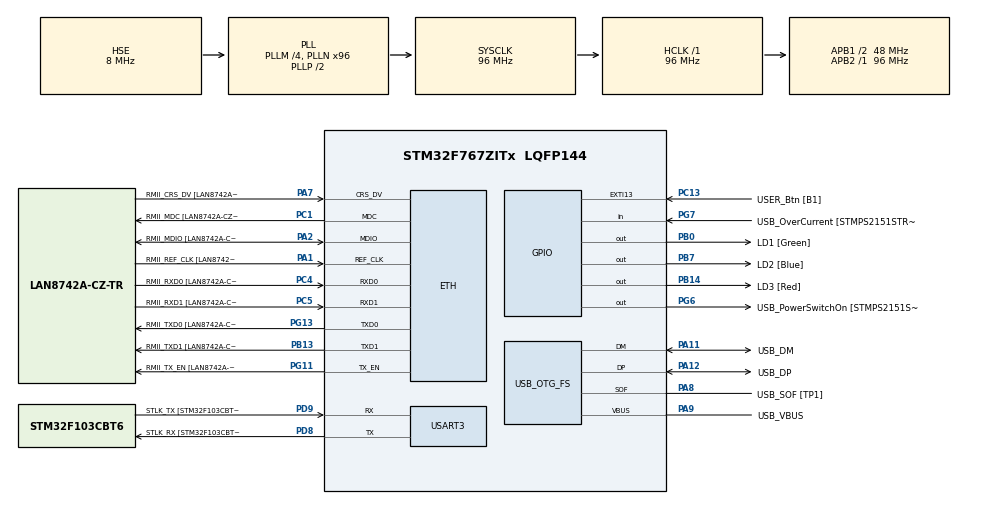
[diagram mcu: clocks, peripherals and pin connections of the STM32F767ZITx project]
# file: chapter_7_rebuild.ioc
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ETH.MediaInterface=HAL_ETH_RMII_MODE
ETH.PHY_Name=LAN8742A_PHY_ADDRESS
ETH.PHY_Value=0
ETH.PhyAddress=0
FREERTOS.Tasks01=defaultTask,24,128,StartDefaultTask,Default,NULL,Dynamic,NULL,NULL
Mcu.Family=STM32F7
Mcu.Name=STM32F767ZITx
Mcu.Package=LQFP144
NVIC.PriorityGroup=NVIC_PRIORITYGROUP_4
PA1.GPIO_Label=RMII_REF_CLK [LAN8742A-CZ-TR_REFCLK0]
PA1.Mode=RMII
PA1.Signal=ETH_REF_CLK
PA10.GPIO_Label=USB_ID
PA10.Signal=USB_OTG_FS_ID
PA11.GPIO_Label=USB_DM
PA11.Mode=Device_Only
PA11.Signal=USB_OTG_FS_DM
PA12.GPIO_Label=USB_DP
PA12.Mode=Device_Only
PA12.Signal=USB_OTG_FS_DP
PA13.GPIO_Label=TMS
PA13.Mode=Serial_Wire
PA13.Signal=SYS_JTMS-SWDIO
PA14.GPIO_Label=TCK
PA14.Mode=Serial_Wire
PA14.Signal=SYS_JTCK-SWCLK
PA2.GPIO_Label=RMII_MDIO [LAN8742A-CZ-TR_MDIO]
PA2.Mode=RMII
PA2.Signal=ETH_MDIO
PA7.GPIO_Label=RMII_CRS_DV [LAN8742A-CZ-TR_CRS_DV]
PA7.Mode=RMII
PA7.Signal=ETH_CRS_DV
PA8.GPIO_Label=USB_SOF [TP1]
PA8.Mode=Activate_SOF_FS
PA8.Signal=USB_OTG_FS_SOF
PA9.GPIO_Label=USB_VBUS
PA9.Mode=Activate_VBUS
PA9.Signal=USB_OTG_FS_VBUS
PB0.GPIO_Label=LD1 [Green]
PB0.Signal=GPIO_Output
PB13.GPIO_Label=RMII_TXD1 [LAN8742A-CZ-TR_TXD1]
PB13.Mode=RMII
PB13.Signal=ETH_TXD1
PB14.GPIO_Label=LD3 [Red]
PB14.Signal=GPIO_Output
PB3.GPIO_Label=SWO
PB3.Signal=SYS_JTDO-SWO
PB7.GPIO_Label=LD2 [Blue]
PB7.Signal=GPIO_Output
PC1.GPIO_Label=RMII_MDC [LAN8742A-CZ-TR_MDC]
PC1.Mode=RMII
PC1.Signal=ETH_MDC
PC13.GPIO_Label=USER_Btn [B1]
PC13.Signal=GPXTI13
PC14/OSC32_IN.Mode=LSE-External-Oscillator
PC14/OSC32_IN.Signal=RCC_OSC32_IN
PC15/OSC32_OUT.Mode=LSE-External-Oscillator
PC15/OSC32_OUT.Signal=RCC_OSC32_OUT
PC4.GPIO_Label=RMII_RXD0 [LAN8742A-CZ-TR_RXD0]
PC4.Mode=RMII
PC4.Signal=ETH_RXD0
PC5.GPIO_Label=RMII_RXD1 [LAN8742A-CZ-TR_RXD1]
PC5.Mode=RMII
PC5.Signal=ETH_RXD1
PD8.GPIO_Label=STLK_RX [STM32F103CBT6_PA3]
PD8.Mode=Asynchronous
PD8.Signal=USART3_TX
PD9.GPIO_Label=STLK_TX [STM32F103CBT6_PA2]
PD9.Mode=Asynchronous
PD9.Signal=USART3_RX
PG11.GPIO_Label=RMII_TX_EN [LAN8742A-CZ-TR_TXEN]
PG11.Mode=RMII
PG11.Signal=ETH_TX_EN
PG13.GPIO_Label=RMII_TXD0 [LAN8742A-CZ-TR_TXD0]
PG13.Mode=RMII
PG13.Signal=ETH_TXD0
PG6.GPIO_Label=USB_PowerSwitchOn [STMPS2151STR_EN]
PG6.Signal=GPIO_Output
PG7.GPIO_Label=USB_OverCurrent [STMPS2151STR_FAULT]
PG7.Signal=GPIO_Input
PH0/OSC_IN.GPIO_Label=MCO [STM32F103CBT6_PA8]
PH0/OSC_IN.Mode=HSE-External-Clock-Source
PH0/OSC_IN.Signal=RCC_OSC_IN
PH1/OSC_OUT.Mode=HSE-External-Clock-Source
PH1/OSC_OUT.Signal=RCC_OSC_OUT
ProjectManager.HeapSize=0x200
ProjectManager.StackSize=0x400
ProjectManager.TargetToolchain=STM32CubeIDE
RCC.48MHZClocksFreq_Value=24000000
RCC.AHBFreq_Value=96000000
RCC.APB1CLKDivider=RCC_HCLK_DIV2
RCC.APB1Freq_Value=48000000
RCC.APB1TimFreq_Value=96000000
RCC.APB2Freq_Value=96000000
RCC.APB2TimFreq_Value=96000000
RCC.CortexFreq_Value=96000000
RCC.HCLKFreq_Value=96000000
RCC.HSE_VALUE=8000000
RCC.HSI_VALUE=16000000
RCC.PLLM=4
RCC.PLLMUL=RCC_PLL_MUL9
RCC.PLLN=96
RCC.PLLQ=4
RCC.PRESCALERUSB=RCC_USBCLKSOURCE_PLL_DIV1_5
RCC.SYSCLKFreq_VALUE=96000000
RCC.SYSCLKSource=RCC_SYSCLKSOURCE_PLLCLK
RCC.SYSCLKSourceVirtual=RCC_SYSCLKSOURCE_PLLCLK
RCC.USBFreq_Value=48000000
RCC.VCOOutputFreq_Value=192000000
USART3.VirtualMode-Asynchronous=VM_ASYNC
USB_OTG_FS.VirtualMode=Device_Only
VP_FREERTOS_VS_CMSIS_V2.Mode=CMSIS_V2
board=NUCLEO-F767ZI

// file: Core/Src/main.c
/* USER CODE BEGIN Header */
/**
  ******************************************************************************
  * @file           : main.c
  * @brief          : Main program body
  ******************************************************************************
  * @attention
  *
  * Copyright (c) 2023 STMicroelectronics.
  * All rights reserved.
  *
  * This software is licensed under terms that can be found in the LICENSE file
  * in the root directory of this software component.
  * If no LICENSE file comes with this software, it is provided AS-IS.
  *
  ******************************************************************************
  */
/* USER CODE END Header */
#include "main.h"
#include "string.h"
#include "cmsis_os.h"

/* USER CODE BEGIN Includes */
void GreenTask(void *argument);
void BlueTask(void *argument);
void RedTask(void *argument);
void lookBusy( void );
TaskHandle_t blueTaskHandle;

/* USER CODE END Includes */

#define STACK_SIZE 128
#if defined ( __ICCARM__ ) /*!< IAR Compiler */
#pragma location=0x2007c000
ETH_DMADescTypeDef  DMARxDscrTab[ETH_RX_DESC_CNT]; /* Ethernet Rx DMA Descriptors */
#pragma location=0x2007c0a0
ETH_DMADescTypeDef  DMATxDscrTab[ETH_TX_DESC_CNT]; /* Ethernet Tx DMA Descriptors */

#elif defined ( __CC_ARM )  /* MDK ARM Compiler */

__attribute__((at(0x2007c000))) ETH_DMADescTypeDef  DMARxDscrTab[ETH_RX_DESC_CNT]; /* Ethernet Rx DMA Descriptors */
__attribute__((at(0x2007c0a0))) ETH_DMADescTypeDef  DMATxDscrTab[ETH_TX_DESC_CNT]; /* Ethernet Tx DMA Descriptors */

#elif defined ( __GNUC__ ) /* GNU Compiler */
ETH_DMADescTypeDef DMARxDscrTab[ETH_RX_DESC_CNT] __attribute__((section(".RxDecripSection"))); /* Ethernet Rx DMA Descriptors */
ETH_DMADescTypeDef DMATxDscrTab[ETH_TX_DESC_CNT] __attribute__((section(".TxDecripSection")));   /* Ethernet Tx DMA Descriptors */

#endif

ETH_TxPacketConfig TxConfig;

ETH_HandleTypeDef heth;

UART_HandleTypeDef huart3;

PCD_HandleTypeDef hpcd_USB_OTG_FS;

/* Definitions for defaultTask */
osThreadId_t defaultTaskHandle;
const osThreadAttr_t defaultTask_attributes = {
  .name = "defaultTask",
  .stack_size = 128 * 4,
  .priority = (osPriority_t) osPriorityNormal,
};

void SystemClock_Config(void);
static void MX_GPIO_Init(void);
static void MX_ETH_Init(void);
static void MX_USART3_UART_Init(void);
static void MX_USB_OTG_FS_PCD_Init(void);
void StartDefaultTask(void *argument);

int main(void)
{
  /* USER CODE BEGIN 1 */
  if (xTaskCreate(GreenTask, "GreenTask", STACK_SIZE, NULL, tskIDLE_PRIORITY + 2, NULL) != pdPASS){ while(1); }
  /* USER CODE END 1 */

  /* MCU Configuration--------------------------------------------------------*/

  /* Reset of all peripherals, Initializes the Flash interface and the Systick. */
  HAL_Init();

  /* Configure the system clock */
  SystemClock_Config();

  /* Initialize all configured peripherals */
  MX_GPIO_Init();
  MX_ETH_Init();
  MX_USART3_UART_Init();
  MX_USB_OTG_FS_PCD_Init();

  /* Init scheduler */
  osKernelInitialize();

  /* Create the thread(s) */
  /* creation of defaultTask */
  defaultTaskHandle = osThreadNew(StartDefaultTask, NULL, &defaultTask_attributes);

  /* USER CODE BEGIN RTOS_THREADS */
  /* add threads, ... */
  void GreenTask();
  /* USER CODE END RTOS_THREADS */

  /* Start scheduler */
  osKernelStart();

  /* We should never get here as control is now taken by the scheduler */
  /* Infinite loop */
  while (1)
  {

  }
}

void SystemClock_Config(void)
{
  RCC_OscInitTypeDef RCC_OscInitStruct = {0};
  RCC_ClkInitTypeDef RCC_ClkInitStruct = {0};

  /** Configure LSE Drive Capability
  */
  HAL_PWR_EnableBkUpAccess();

  /** Configure the main internal regulator output voltage
  */
  __HAL_RCC_PWR_CLK_ENABLE();
  __HAL_PWR_VOLTAGESCALING_CONFIG(PWR_REGULATOR_VOLTAGE_SCALE3);

  /** Initializes the RCC Oscillators according to the specified parameters
  * in the RCC_OscInitTypeDef structure.
  */
  RCC_OscInitStruct.OscillatorType = RCC_OSCILLATORTYPE_HSE;
  RCC_OscInitStruct.HSEState = RCC_HSE_BYPASS;
  RCC_OscInitStruct.PLL.PLLState = RCC_PLL_ON;
  RCC_OscInitStruct.PLL.PLLSource = RCC_PLLSOURCE_HSE;
  RCC_OscInitStruct.PLL.PLLM = 4;
  RCC_OscInitStruct.PLL.PLLN = 96;
  RCC_OscInitStruct.PLL.PLLP = RCC_PLLP_DIV2;
  RCC_OscInitStruct.PLL.PLLQ = 4;
  RCC_OscInitStruct.PLL.PLLR = 2;
  if (HAL_RCC_OscConfig(&RCC_OscInitStruct) != HAL_OK)
  {
    Error_Handler();
  }

  /** Activate the Over-Drive mode
  */
  if (HAL_PWREx_EnableOverDrive() != HAL_OK)
  {
    Error_Handler();
  }

  /** Initializes the CPU, AHB and APB buses clocks
  */
  RCC_ClkInitStruct.ClockType = RCC_CLOCKTYPE_HCLK|RCC_CLOCKTYPE_SYSCLK
                              |RCC_CLOCKTYPE_PCLK1|RCC_CLOCKTYPE_PCLK2;
  RCC_ClkInitStruct.SYSCLKSource = RCC_SYSCLKSOURCE_PLLCLK;
  RCC_ClkInitStruct.AHBCLKDivider = RCC_SYSCLK_DIV1;
  RCC_ClkInitStruct.APB1CLKDivider = RCC_HCLK_DIV2;
  RCC_ClkInitStruct.APB2CLKDivider = RCC_HCLK_DIV1;

  if (HAL_RCC_ClockConfig(&RCC_ClkInitStruct, FLASH_LATENCY_3) != HAL_OK)
  {
    Error_Handler();
  }
}

static void MX_ETH_Init(void)
{

   static uint8_t MACAddr[6];

  heth.Instance = ETH;
  MACAddr[0] = 0x00;
  MACAddr[1] = 0x80;
  MACAddr[2] = 0xE1;
  MACAddr[3] = 0x00;
  MACAddr[4] = 0x00;
  MACAddr[5] = 0x00;
  heth.Init.MACAddr = &MACAddr[0];
  heth.Init.MediaInterface = HAL_ETH_RMII_MODE;
  heth.Init.TxDesc = DMATxDscrTab;
  heth.Init.RxDesc = DMARxDscrTab;
  heth.Init.RxBuffLen = 1524;

  if (HAL_ETH_Init(&heth) != HAL_OK)
  {
    Error_Handler();
  }

  memset(&TxConfig, 0 , sizeof(ETH_TxPacketConfig));
  TxConfig.Attributes = ETH_TX_PACKETS_FEATURES_CSUM | ETH_TX_PACKETS_FEATURES_CRCPAD;
  TxConfig.ChecksumCtrl = ETH_CHECKSUM_IPHDR_PAYLOAD_INSERT_PHDR_CALC;
  TxConfig.CRCPadCtrl = ETH_CRC_PAD_INSERT;

}

static void MX_USART3_UART_Init(void)
{

  huart3.Instance = USART3;
  huart3.Init.BaudRate = 115200;
  huart3.Init.WordLength = UART_WORDLENGTH_8B;
  huart3.Init.StopBits = UART_STOPBITS_1;
  huart3.Init.Parity = UART_PARITY_NONE;
  huart3.Init.Mode = UART_MODE_TX_RX;
  huart3.Init.HwFlowCtl = UART_HWCONTROL_NONE;
  huart3.Init.OverSampling = UART_OVERSAMPLING_16;
  huart3.Init.OneBitSampling = UART_ONE_BIT_SAMPLE_DISABLE;
  huart3.AdvancedInit.AdvFeatureInit = UART_ADVFEATURE_NO_INIT;
  if (HAL_UART_Init(&huart3) != HAL_OK)
  {
    Error_Handler();
  }

}

static void MX_USB_OTG_FS_PCD_Init(void)
{

  hpcd_USB_OTG_FS.Instance = USB_OTG_FS;
  hpcd_USB_OTG_FS.Init.dev_endpoints = 6;
  hpcd_USB_OTG_FS.Init.speed = PCD_SPEED_FULL;
  hpcd_USB_OTG_FS.Init.dma_enable = DISABLE;
  hpcd_USB_OTG_FS.Init.phy_itface = PCD_PHY_EMBEDDED;
  hpcd_USB_OTG_FS.Init.Sof_enable = ENABLE;
  hpcd_USB_OTG_FS.Init.low_power_enable = DISABLE;
  hpcd_USB_OTG_FS.Init.lpm_enable = DISABLE;
  hpcd_USB_OTG_FS.Init.vbus_sensing_enable = ENABLE;
  hpcd_USB_OTG_FS.Init.use_dedicated_ep1 = DISABLE;
  if (HAL_PCD_Init(&hpcd_USB_OTG_FS) != HAL_OK)
  {
    Error_Handler();
  }

}

static void MX_GPIO_Init(void)
{
  GPIO_InitTypeDef GPIO_InitStruct = {0};

  /* GPIO Ports Clock Enable */
  __HAL_RCC_GPIOC_CLK_ENABLE();
  __HAL_RCC_GPIOH_CLK_ENABLE();
  __HAL_RCC_GPIOA_CLK_ENABLE();
  __HAL_RCC_GPIOB_CLK_ENABLE();
  __HAL_RCC_GPIOD_CLK_ENABLE();
  __HAL_RCC_GPIOG_CLK_ENABLE();

  /*Configure GPIO pin Output Level */
  HAL_GPIO_WritePin(GPIOB, LD1_Pin|LD3_Pin|LD2_Pin, GPIO_PIN_RESET);

  /*Configure GPIO pin Output Level */
  HAL_GPIO_WritePin(USB_PowerSwitchOn_GPIO_Port, USB_PowerSwitchOn_Pin, GPIO_PIN_RESET);

  /*Configure GPIO pin : USER_Btn_Pin */
  GPIO_InitStruct.Pin = USER_Btn_Pin;
  GPIO_InitStruct.Mode = GPIO_MODE_IT_RISING;
  GPIO_InitStruct.Pull = GPIO_NOPULL;
  HAL_GPIO_Init(USER_Btn_GPIO_Port, &GPIO_InitStruct);

  /*Configure GPIO pins : LD1_Pin LD3_Pin LD2_Pin */
  GPIO_InitStruct.Pin = LD1_Pin|LD3_Pin|LD2_Pin;
  GPIO_InitStruct.Mode = GPIO_MODE_OUTPUT_PP;
  GPIO_InitStruct.Pull = GPIO_NOPULL;
  GPIO_InitStruct.Speed = GPIO_SPEED_FREQ_LOW;
  HAL_GPIO_Init(GPIOB, &GPIO_InitStruct);

  /*Configure GPIO pin : USB_PowerSwitchOn_Pin */
  GPIO_InitStruct.Pin = USB_PowerSwitchOn_Pin;
  GPIO_InitStruct.Mode = GPIO_MODE_OUTPUT_PP;
  GPIO_InitStruct.Pull = GPIO_NOPULL;
  GPIO_InitStruct.Speed = GPIO_SPEED_FREQ_LOW;
  HAL_GPIO_Init(USB_PowerSwitchOn_GPIO_Port, &GPIO_InitStruct);

  /*Configure GPIO pin : USB_OverCurrent_Pin */
  GPIO_InitStruct.Pin = USB_OverCurrent_Pin;
  GPIO_InitStruct.Mode = GPIO_MODE_INPUT;
  GPIO_InitStruct.Pull = GPIO_NOPULL;
  HAL_GPIO_Init(USB_OverCurrent_GPIO_Port, &GPIO_InitStruct);

}

/* USER CODE BEGIN 4 */
void GreenTask(void *argument)
{
	SEGGER_SYSVIEW_PrintfHost("Task1 running \
							   while Green LED is on\n");
	GreenLed.On();
	vTaskDelay(1500/ portTICK_PERIOD_MS);
	GreenLed.Off();

	//a task can delete itself by passing NULL to vTaskDelete
	vTaskDelete(NULL);

	//task never get's here
	GreenLed.On();
}
/* USER CODE END 4 */

void StartDefaultTask(void *argument)
{
  for(;;)
  {
    osDelay(1);
  }
}

void Error_Handler(void)
{
  __disable_irq();
  while (1)
  {
  }
}
